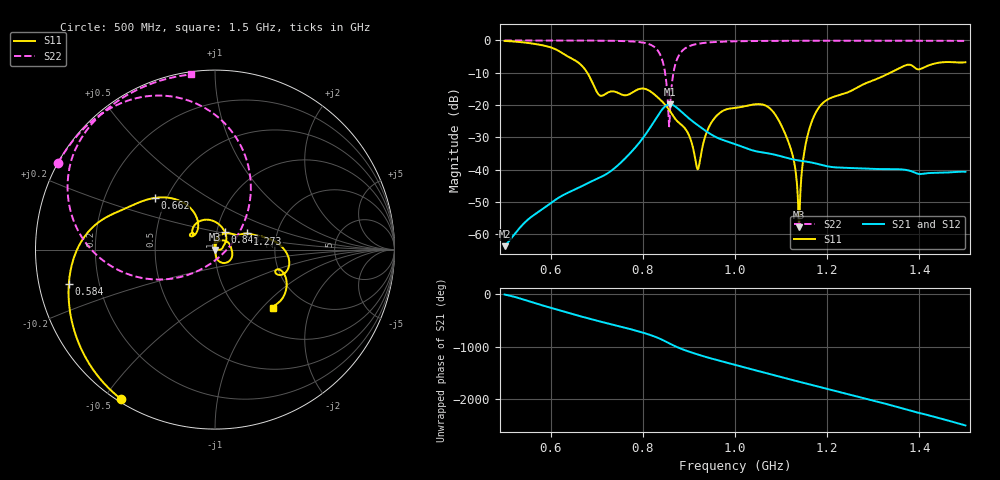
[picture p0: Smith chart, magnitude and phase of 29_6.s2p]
! TOUCHSTONE file generated by CST MICROWAVE STUDIO
! Date and time: Sat Oct 24 11:48:14 2020
! Project name: Scenario_1_Circular_Tissue_out_of_Line.cst
! Parameters = {dy1=139.548; L_HA=400; MT=2.54; Rad_Dielectric=30; Rad_Lower=7.3; Rad_Upper=30; a_HA=580; a_WG=246; b_HA=500; b_WG=121; c_HA=0; c_WG=187; d_feed=85; dx1=1039; h_feed=15; h_lower=18; h_upper=40}
! Header version: 2018
! Port assignment regex: !\s*Touchstone port\s*([0-9]+)\s*=\s*(CST MWS port|CST DS port)\s*([0-9]+|Zmin|Zmax)\s*\(\"(.*)\"\)(\s*mode\s*([0-9]+))?.*
! Touchstone port assignment:
! Touchstone port 1 = CST MWS port 1 ("")
! Touchstone port 2 = CST MWS port 2 ("")
# GHz S DB R 50
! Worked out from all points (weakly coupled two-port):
!   1001 points, 500 MHz to 1.5 GHz, reference 50 ohm
!   highest |S21| = -19.76 dB at 858 MHz (marker M1); lowest = -63.7 dB at 500 MHz (marker M2)
!   lowest |S11| = -57.7 dB at 1.139 GHz (marker M3), VSWR 1.00, Z = 49.9 - j0.0176 ohm
!   |S11| at or under -10 dB: 679.5 MHz to 1.337 GHz (657.5 MHz wide, 65.2 % of centre)
!   |S22| runs from -26.6 to 0.0 dB; largest |S21 - S12| = 1.5e-05
!   S11 on the Smith chart (normalised r, x): 500 MHz: 0.01, -0.55; 584 MHz: 0.09, -0.11; 662 MHz: 0.43, +0.31; 843 MHz: 1.10, +0.21; 1.273 GHz: 1.41, +0.26; 1.5 GHz: 1.40, -1.16
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0.5  -0.15 -122.2  -63.68 -4.3  -63.68 -4.3  -0.01 151.1
0.584  -1.56 -166.9  -52.02 144.2  -52.02 144.2  -0.02 145.3
0.662  -7.08 139.4  -45.52 -52.6  -45.52 -52.6  -0.04 138.8
0.667  -7.72 134.9  -45.16 -64.5  -45.16 -64.5  -0.04 138.4
0.708  -17.11 138.5  -42.35 -160.4  -42.35 -160.4  -0.07 133.8
0.788  -15.24 135.0  -32.41 19.7  -32.41 19.7  -0.44 117.5
0.834  -17.83 71.5  -22.94 -115.2  -22.94 -115.2  -3.47 82.5
0.843  -19.07 59.8  -21.17 -150.9  -21.17 -150.9  -6.50 66.0
0.858  -21.68 40.5  -19.76 142.3  -19.76 142.3  -24.89 -84.8
0.877  -25.29 26.7  -21.22 63.3  -21.22 63.3  -4.95 -169.3
0.919  -39.88 36.3  -26.21 -67.1  -26.21 -67.1  -1.05 158.0
0.95  -25.15 61.8  -29.25 -147.2  -29.25 -147.2  -0.54 148.8
1  -20.89 6.5  -32.09 93.5  -32.09 93.5  -0.27 140.1
1.086  -22.69 -68.5  -35.35 -105.4  -35.35 -105.4  -0.13 130.9
1.122  -33.96 -81.7  -36.69 171.9  -36.69 171.9  -0.11 127.8
1.139  -57.70 -172.2  -37.17 134.0  -37.17 134.0  -0.10 126.4
1.152  -33.11 100.1  -37.44 104.7  -37.44 104.7  -0.10 125.3
1.167  -24.98 84.2  -37.81 70.1  -37.81 70.1  -0.10 124.1
1.196  -18.74 52.2  -38.84 4.8  -38.84 4.8  -0.09 121.9
1.273  -13.98 26.6  -39.58 -165.5  -39.58 -165.6  -0.08 116.0
1.334  -10.21 11.2  -39.83 55.7  -39.83 55.7  -0.09 111.4
1.5  -6.75 -45.1  -40.64 19.3  -40.65 19.2  -0.13 97.8
